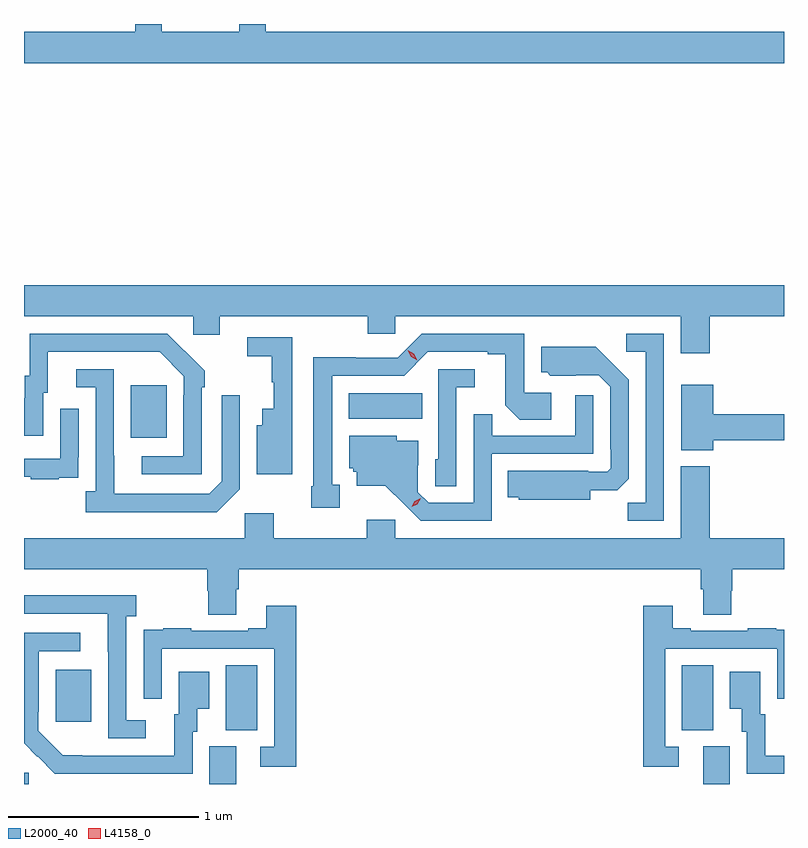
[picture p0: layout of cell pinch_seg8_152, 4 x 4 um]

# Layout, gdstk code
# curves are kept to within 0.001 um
import gdstk
lib = gdstk.Library(unit=1e-6, precision=1e-09)
def R(c, l, rs):  # rectangles x0, y0, x1, y1
    for r in rs: c.add(gdstk.rectangle(r[:2], r[2:], *l))
def P(c, l, *ps):  # polygons
    for p in ps: c.add(gdstk.Polygon(p, *l))
L2000_40 = (2000, 40)
L4158_0 = (4158, 0)

pinch_seg8_152 = lib.new_cell('pinch_seg8_152')
R(pinch_seg8_152, L2000_40, [(707.755,1147.338,707.781,1147.398), (708.731,1147.338,708.871,1147.536), (711.329,1147.338,711.469,1147.536), (708.818,1147.621,708.982,1147.964), (711.218,1147.621,711.382,1147.964), (707.921,1147.665,708.109,1147.939), (708.317,1149.161,708.505,1149.436), (709.463,1149.26,709.85,1149.394)])
P(pinch_seg8_152, L2000_40, [(711.755,1151.296),(709.027,1151.296),(709.027,1151.338),(708.887,1151.338),(708.887,1151.296),(708.481,1151.296),(708.481,1151.338),(708.341,1151.338),(708.341,1151.296),(707.755,1151.296),(707.755,1151.132),(711.755,1151.132)],
  [(711.365,1149.8),(711.755,1149.8),(711.755,1149.964),(707.755,1149.964),(707.755,1149.8),(708.645,1149.8),(708.645,1149.702),(708.784,1149.702),(708.784,1149.8),(709.564,1149.8),(709.564,1149.707),(709.71,1149.707),(709.71,1149.8),(711.212,1149.8),(711.212,1149.606),(711.365,1149.606)],
  [(708.69,1149.425),(708.705,1149.425),(708.705,1149.513),(708.508,1149.708),(707.784,1149.708),(707.784,1149.486),(707.759,1149.486),(707.759,1149.367),(707.755,1149.367),(707.755,1149.171),(707.857,1149.171),(707.857,1149.396),(707.881,1149.396),(707.881,1149.612),(708.469,1149.612),(708.597,1149.483),(708.597,1149.383),(708.594,1149.383),(708.594,1149.063),(708.375,1149.063),(708.375,1148.967),(708.69,1148.967)],
  [(709.417,1148.913),(709.378,1148.913),(709.378,1149.486),(709.755,1149.486),(709.881,1149.612),(710.195,1149.612),(710.195,1149.6),(710.289,1149.6),(710.289,1149.332),(710.365,1149.256),(710.53,1149.256),(710.53,1149.396),(710.388,1149.396),(710.388,1149.708),(709.848,1149.708),(709.722,1149.582),(709.5,1149.582),(709.5,1149.584),(709.277,1149.584),(709.277,1148.905),(709.267,1148.905),(709.267,1148.793),(709.417,1148.793)],
  [(711.123,1149.708),(710.925,1149.708),(710.925,1149.612),(711.027,1149.612),(711.027,1148.819),(710.932,1148.819),(710.932,1148.724),(711.123,1148.724)],
  [(709.168,1149.209),(709.167,1149.209),(709.167,1149.69),(708.93,1149.69),(708.93,1149.589),(709.059,1149.589),(709.059,1149.453),(709.07,1149.453),(709.07,1149.313),(709.01,1149.313),(709.01,1149.226),(708.98,1149.226),(708.98,1148.969),(709.168,1148.969)],
  [(710.734,1148.885),(710.878,1148.885),(710.937,1148.944),(710.937,1149.466),(710.765,1149.64),(710.477,1149.64),(710.477,1149.504),(710.508,1149.504),(710.524,1149.488),(710.781,1149.489),(710.841,1149.429),(710.841,1149.1),(710.844,1149.1),(710.844,1149),(710.826,1148.982),(710.726,1148.982),(710.726,1148.986),(710.302,1148.986),(710.302,1148.846),(710.358,1148.846),(710.358,1148.834),(710.734,1148.834)],
  [(708.891,1148.889),(708.891,1149.385),(708.795,1149.385),(708.795,1148.931),(708.729,1148.865),(708.229,1148.865),(708.228,1149.522),(708.03,1149.522),(708.03,1149.426),(708.132,1149.426),(708.132,1148.878),(708.081,1148.878),(708.081,1148.768),(708.77,1148.768)],
  [(710.031,1149.425),(710.128,1149.425),(710.128,1149.522),(709.935,1149.522),(709.935,1149.048),(709.92,1149.048),(709.92,1148.905),(710.031,1148.905)],
  [(711.382,1149.148),(711.755,1149.148),(711.755,1149.284),(711.382,1149.284),(711.382,1149.439),(711.215,1149.439),(711.215,1149.095),(711.382,1149.095)],
  [(710.217,1149.075),(710.751,1149.075),(710.751,1149.385),(710.655,1149.385),(710.655,1149.171),(710.219,1149.171),(710.219,1149.284),(710.121,1149.284),(710.121,1148.817),(709.884,1148.817),(709.827,1148.874),(709.827,1149.016),(709.831,1149.016),(709.831,1149.145),(709.716,1149.145),(709.716,1149.172),(709.466,1149.172),(709.466,1149),(709.488,1149),(709.488,1148.982),(709.505,1148.982),(709.505,1148.909),(709.657,1148.909),(709.844,1148.724),(710.217,1148.724)],
  [(707.939,1148.949),(708.041,1148.949),(708.041,1149.058),(708.042,1149.058),(708.042,1149.313),(707.946,1149.313),(707.946,1149.051),(707.755,1149.051),(707.755,1148.955),(707.791,1148.955),(707.791,1148.943),(707.939,1148.943)],
  [(707.755,1148.468),(708.719,1148.468),(708.719,1148.355),(708.724,1148.355),(708.724,1148.23),(708.871,1148.23),(708.871,1148.362),(708.884,1148.362),(708.884,1148.468),(711.317,1148.468),(711.317,1148.362),(711.329,1148.362),(711.329,1148.23),(711.477,1148.23),(711.477,1148.355),(711.482,1148.355),(711.482,1148.468),(711.755,1148.468),(711.755,1148.632),(711.365,1148.632),(711.365,1149.01),(711.212,1149.01),(711.212,1148.632),(709.71,1148.632),(709.71,1148.728),(709.559,1148.728),(709.559,1148.632),(709.07,1148.632),(709.07,1148.764),(708.918,1148.764),(708.918,1148.632),(707.755,1148.632)],
  [(708.397,1147.674),(708.294,1147.674),(708.294,1148.222),(708.346,1148.222),(708.346,1148.332),(707.755,1148.332),(707.755,1148.235),(708.197,1148.235),(708.197,1148.035),(708.198,1148.035),(708.198,1147.578),(708.397,1147.578)],
  [(711.202,1147.533),(711.129,1147.533),(711.129,1148.049),(711.72,1148.049),(711.72,1147.788),(711.755,1147.788),(711.755,1148.151),(711.713,1148.151),(711.713,1148.158),(711.565,1148.158),(711.565,1148.145),(711.265,1148.145),(711.265,1148.158),(711.169,1148.158),(711.169,1148.275),(711.013,1148.275),(711.013,1147.428),(711.202,1147.428)],
  [(709.187,1148.275),(709.031,1148.275),(709.031,1148.158),(708.935,1148.158),(708.935,1148.145),(708.635,1148.145),(708.635,1148.158),(708.487,1148.158),(708.487,1148.151),(708.385,1148.151),(708.385,1148.042),(708.384,1148.042),(708.384,1147.788),(708.48,1147.788),(708.48,1148.049),(709.071,1148.049),(709.071,1147.533),(708.999,1147.533),(708.999,1147.428),(709.187,1147.428)],
  [(708.642,1147.614),(708.667,1147.614),(708.667,1147.733),(708.73,1147.733),(708.73,1147.93),(708.569,1147.93),(708.569,1147.704),(708.545,1147.704),(708.545,1147.488),(707.958,1147.489),(707.829,1147.617),(707.829,1147.717),(707.832,1147.717),(707.832,1148.037),(708.052,1148.037),(708.052,1148.133),(707.755,1148.133),(707.755,1147.553),(707.918,1147.392),(708.642,1147.392)],
  [(711.755,1147.488),(711.655,1147.488),(711.655,1147.704),(711.631,1147.704),(711.631,1147.93),(711.47,1147.93),(711.47,1147.733),(711.533,1147.733),(711.533,1147.614),(711.558,1147.614),(711.558,1147.392),(711.755,1147.392)])
P(pinch_seg8_152, L4158_0, [(709.795,1148.797),(709.795,1148.797),(709.812,1148.826),(709.843,1148.841),(709.844,1148.841),(709.844,1148.841),(709.826,1148.811),(709.795,1148.797)],
  [(709.824,1149.569),(709.793,1149.588),(709.775,1149.621),(709.775,1149.621),(709.776,1149.621),(709.807,1149.602),(709.825,1149.569),(709.825,1149.569)])

lib.write_gds('pinch_seg8_152.gds')
